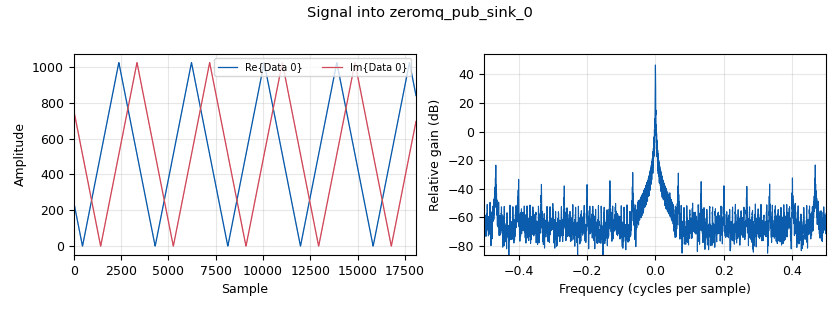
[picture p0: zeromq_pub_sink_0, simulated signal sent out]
options:
  parameters:
    author: John Swoboda
    generate_options: qt_gui
    id: drf2zmq
    output_language: python
    title: Digital RF to ZeroMQ
  states: {}

blocks:
- name: analog_sig_source_x_0
  id: analog_sig_source_x
  parameters:
    amp: '1'
    freq: '10000'
    offset: '0'
    phase: '.1'
    samp_rate: samp_rate
    type: complex
    waveform: analog.GR_TRI_WAVE
  states: {}
- name: blocks_complex_to_interleaved_short_0
  id: blocks_complex_to_interleaved_short
  parameters:
    scale_factor: '1024'
    vector_output: 'True'
  states: {}
- name: blocks_message_debug_0
  id: blocks_message_debug
  parameters: {}
  states: {}
- name: blocks_throttle2_0
  id: blocks_throttle2
  parameters:
    samples_per_second: samp_rate
    type: complex
  states: {}
- name: drfdir
  id: parameter
  parameters:
    label: drfdir
    type: str
    value: '"/Users/swoboj/Documents/Python/spectrumx/mep_tx/example/txchan0"'
  states: {}
- name: en_time
  id: parameter
  parameters:
    label: en_time
    type: str
    value: '""'
  states: {}
- name: pubaddr
  id: parameter
  parameters:
    label: pubaddr
    type: str
    value: '"tcp://0.0.0.0:50241"'
  states: {}
- name: rational_resampler_xxx_0
  id: rational_resampler_xxx
  parameters:
    decim: '1'
    interp: '8'
    type: ccc
  states: {}
- name: samp_rate
  id: parameter
  parameters:
    label: samp_rate
    type: eng_float
    value: '4800000'
  states: {}
- name: st_time
  id: parameter
  parameters:
    label: st_time
    type: str
    value: '""'
  states: {}
- name: zeromq_pub_sink_0
  id: zeromq_pub_sink
  parameters:
    address: pubaddr
    timeout: '100'
    type: short
    vlen: '2'
  states: {}

connections:
- [analog_sig_source_x_0, '0', blocks_throttle2_0, '0']
- [blocks_complex_to_interleaved_short_0, '0', zeromq_pub_sink_0, '0']
- [blocks_throttle2_0, '0', rational_resampler_xxx_0, '0']
- [rational_resampler_xxx_0, '0', blocks_complex_to_interleaved_short_0, '0']

metadata:
  file_format: 1
  grc_version: 3.10.7.0
